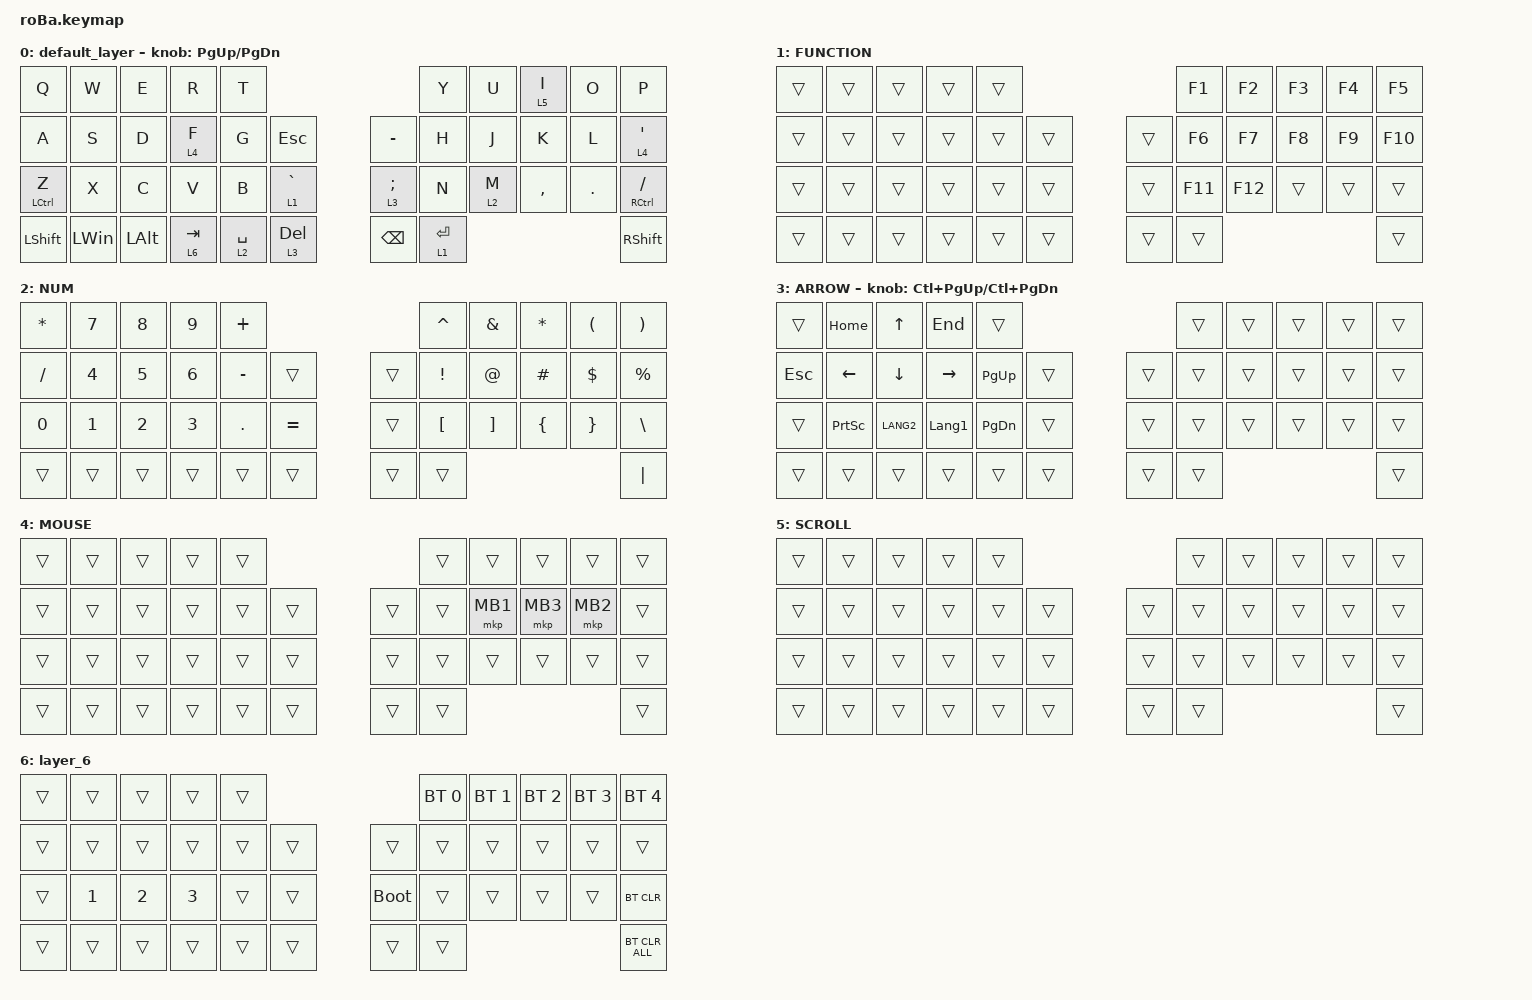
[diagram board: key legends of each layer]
#include <behaviors.dtsi>
#include <dt-bindings/zmk/bt.h>
#include <dt-bindings/zmk/keys.h>
#include <dt-bindings/zmk/pointing.h>

#define MOUSE 4
#define SCROLL 5
#define NUM 6

&mt {
    flavor = "balanced";
    quick-tap-ms = <0>;
};

/ {
    combos {
        compatible = "zmk,combos";

        tab {
            bindings = <&kp TAB>;
            key-positions = <6 7>;
        };

        kana {
            bindings = <&kp LANG1>;
            key-positions = <13 12>;
        };

        kanaoff {
            bindings = <&kp LANG2>;
            key-positions = <24 25>;
        };

        enter {
            bindings = <&kp ENTER>;
            key-positions = <18 19>;
        };

        spece {
            bindings = <&kp SPACE>;
            key-positions = <30 31>;
        };

        bs {
            bindings = <&kp BACKSPACE>;
            key-positions = <19 20>;
        };

        del {
            bindings = <&kp DEL>;
            key-positions = <7 8>;
        };
    };

    macros {
        to_layer_0: to_layer_0 {
            compatible = "zmk,behavior-macro-one-param";
            #binding-cells = <1>;
            bindings = <&to 0 &macro_param_1to1 &kp MACRO_PLACEHOLDER>;
            label = "TO_LAYER_0";
        };
    };

    behaviors {
        lt_to_layer_0: lt_to_layer_0 {
            compatible = "zmk,behavior-hold-tap";
            label = "LAYER_TAP_TO_0";
            bindings = <&mo>, <&to_layer_0>;

            #binding-cells = <2>;
            tapping-term-ms = <200>;
        };
    };

    keymap {
        compatible = "zmk,keymap";

        default_layer {
            bindings = <
&kp Q        &kp W         &kp E         &kp R                 &kp T                                                      &kp Y        &kp U    &lt 5 I    &kp O    &kp P
&kp A        &kp S         &kp D         &lt 4 F               &kp G        &kp ESC                      &kp MINUS        &kp H        &kp J    &kp K      &kp L    &lt_to_layer_0 4 SQT
&mt LCTRL Z  &kp X         &kp C         &kp V                 &kp B        &lt 1 GRAVE                  &lt 3 SEMICOLON  &kp N        &lt 2 M  &kp COMMA  &kp DOT  &mt RCTRL SLASH
&kp LSHFT    &kp LEFT_WIN  &kp LEFT_ALT  &lt_to_layer_0 6 TAB  &lt 2 SPACE  &lt_to_layer_0 3 DELETE      &kp BACKSPACE    &lt 1 ENTER                               &kp RSHFT
            >;

            sensor-bindings = <&inc_dec_kp PG_UP PAGE_DOWN>;
        };

        FUNCTION {
            bindings = <
&trans  &trans  &trans  &trans  &trans                      &kp F1   &kp F2   &kp F3  &kp F4  &kp F5
&trans  &trans  &trans  &trans  &trans  &trans      &trans  &kp F6   &kp F7   &kp F8  &kp F9  &kp F10
&trans  &trans  &trans  &trans  &trans  &trans      &trans  &kp F11  &kp F12  &trans  &trans  &trans
&trans  &trans  &trans  &trans  &trans  &trans      &trans  &trans                            &trans
            >;
        };

        NUM {
            bindings = <
&kp ASTRK  &kp N7  &kp N8  &kp N9        &kp PLUS                           &kp CARET         &kp AMPERSAND      &kp ASTRK       &kp LEFT_PARENTHESIS  &kp RIGHT_PARENTHESIS
&kp SLASH  &kp N4  &kp N5  &kp N6        &kp MINUS   &trans         &trans  &kp EXCLAMATION   &kp AT_SIGN        &kp HASH        &kp DOLLAR            &kp PERCENT
&kp N0     &kp N1  &kp N2  &kp NUMBER_3  &kp PERIOD  &kp EQUAL      &trans  &kp LEFT_BRACKET  &kp RIGHT_BRACKET  &kp LEFT_BRACE  &kp RIGHT_BRACE       &kp BACKSLASH
&trans     &trans  &trans  &trans        &trans      &trans         &trans  &trans                                                                     &kp PIPE
            >;
        };

        ARROW {
            bindings = <
&trans   &kp HOME         &kp UP_ARROW    &kp END          &trans                             &trans  &trans  &trans  &trans  &trans
&kp ESC  &kp LEFT_ARROW   &kp DOWN_ARROW  &kp RIGHT_ARROW  &kp PAGE_UP    &trans      &trans  &trans  &trans  &trans  &trans  &trans
&trans   &kp PRINTSCREEN  &kp LANG2       &kp LANGUAGE_1   &kp PAGE_DOWN  &trans      &trans  &trans  &trans  &trans  &trans  &trans
&trans   &trans           &trans          &trans           &trans         &trans      &trans  &trans                          &trans
            >;

            sensor-bindings = <&inc_dec_kp LC(PAGE_UP) LC(PAGE_DOWN)>;
        };

        MOUSE {
            bindings = <
&trans  &trans  &trans  &trans  &trans                      &trans  &trans    &trans    &trans    &trans
&trans  &trans  &trans  &trans  &trans  &trans      &trans  &trans  &mkp MB1  &mkp MB3  &mkp MB2  &trans
&trans  &trans  &trans  &trans  &trans  &trans      &trans  &trans  &trans    &trans    &trans    &trans
&trans  &trans  &trans  &trans  &trans  &trans      &trans  &trans                                &trans
            >;
        };

        SCROLL {
            bindings = <
&trans  &trans  &trans  &trans  &trans                      &trans  &trans  &trans  &trans  &trans
&trans  &trans  &trans  &trans  &trans  &trans      &trans  &trans  &trans  &trans  &trans  &trans
&trans  &trans  &trans  &trans  &trans  &trans      &trans  &trans  &trans  &trans  &trans  &trans
&trans  &trans  &trans  &trans  &trans  &trans      &trans  &trans                          &trans
            >;
        };

        layer_6 {
            bindings = <
&trans  &trans        &trans        &trans        &trans                           &bt BT_SEL 0  &bt BT_SEL 1  &bt BT_SEL 2  &bt BT_SEL 3  &bt BT_SEL 4
&trans  &trans        &trans        &trans        &trans  &trans      &trans       &trans        &trans        &trans        &trans        &trans
&trans  &kp NUMBER_1  &kp NUMBER_2  &kp NUMBER_3  &trans  &trans      &bootloader  &trans        &trans        &trans        &trans        &bt BT_CLR
&trans  &trans        &trans        &trans        &trans  &trans      &trans       &trans                                                  &bt BT_CLR_ALL
            >;
        };
    };
};
